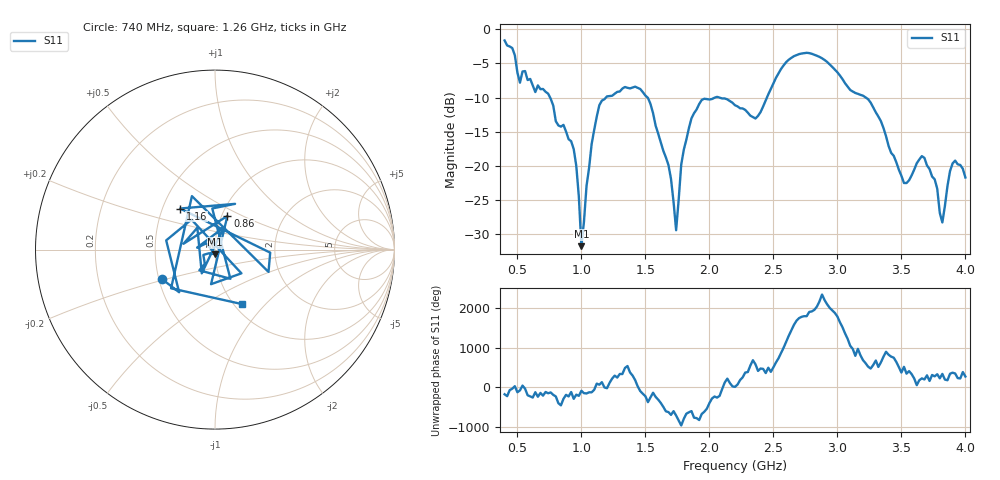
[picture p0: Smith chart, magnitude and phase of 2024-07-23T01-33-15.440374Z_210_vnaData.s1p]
!Created with skrf (http://scikit-rf.org).
# Hz S RI R 50.0
!freq ReS11 ImS11
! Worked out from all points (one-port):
!   181 points, 400 MHz to 4 GHz, reference 50 ohm
!   lowest |S11| = -31.7 dB at 1 GHz (marker M1), VSWR 1.05, Z = 50 - j2.59 ohm
!   |S11| at or under -10 dB: 755.7 MHz to 1.191 GHz (435.4 MHz wide, 44.7 % of centre); 1.518 GHz to 2.043 GHz (525 MHz wide, 29.5 % of centre); 3.223 GHz to end of sweep (the widest 3 of 4)
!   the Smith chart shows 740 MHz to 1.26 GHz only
!   S11 on the Smith chart (normalised r, x): 740 MHz: 0.52, -0.19; 860 MHz: 1.06, +0.42; 1.16 GHz: 0.61, +0.31; 1.26 GHz: 1.08, -0.74
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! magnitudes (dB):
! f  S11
! 400 MHz  -1.6
! 520 MHz  -7.8
! 740 MHz  -9.4
! 860 MHz  -14.0
! 960 MHz  -20.0
! 1 GHz  -31.7
! 1.08 GHz  -16.8
! 1.16 GHz  -10.4
! 1.26 GHz  -9.4
! 1.3 GHz  -9.1
! 1.52 GHz  -10.0
! 1.68 GHz  -19.9
! 1.74 GHz  -29.4
! 1.76 GHz  -24.9
! 1.8 GHz  -17.6
! 1.92 GHz  -10.9
! 2.2 GHz  -11.1
! 2.36 GHz  -13.1
! 2.66 GHz  -3.9
! 2.88 GHz  -4.2
! 3.1 GHz  -8.9
! 3.26 GHz  -10.7
! 3.56 GHz  -22.1
! 3.68 GHz  -18.8
! 3.76 GHz  -22.0
! 3.82 GHz  -28.3
! 3.9 GHz  -19.6
! 4 GHz  -21.7
